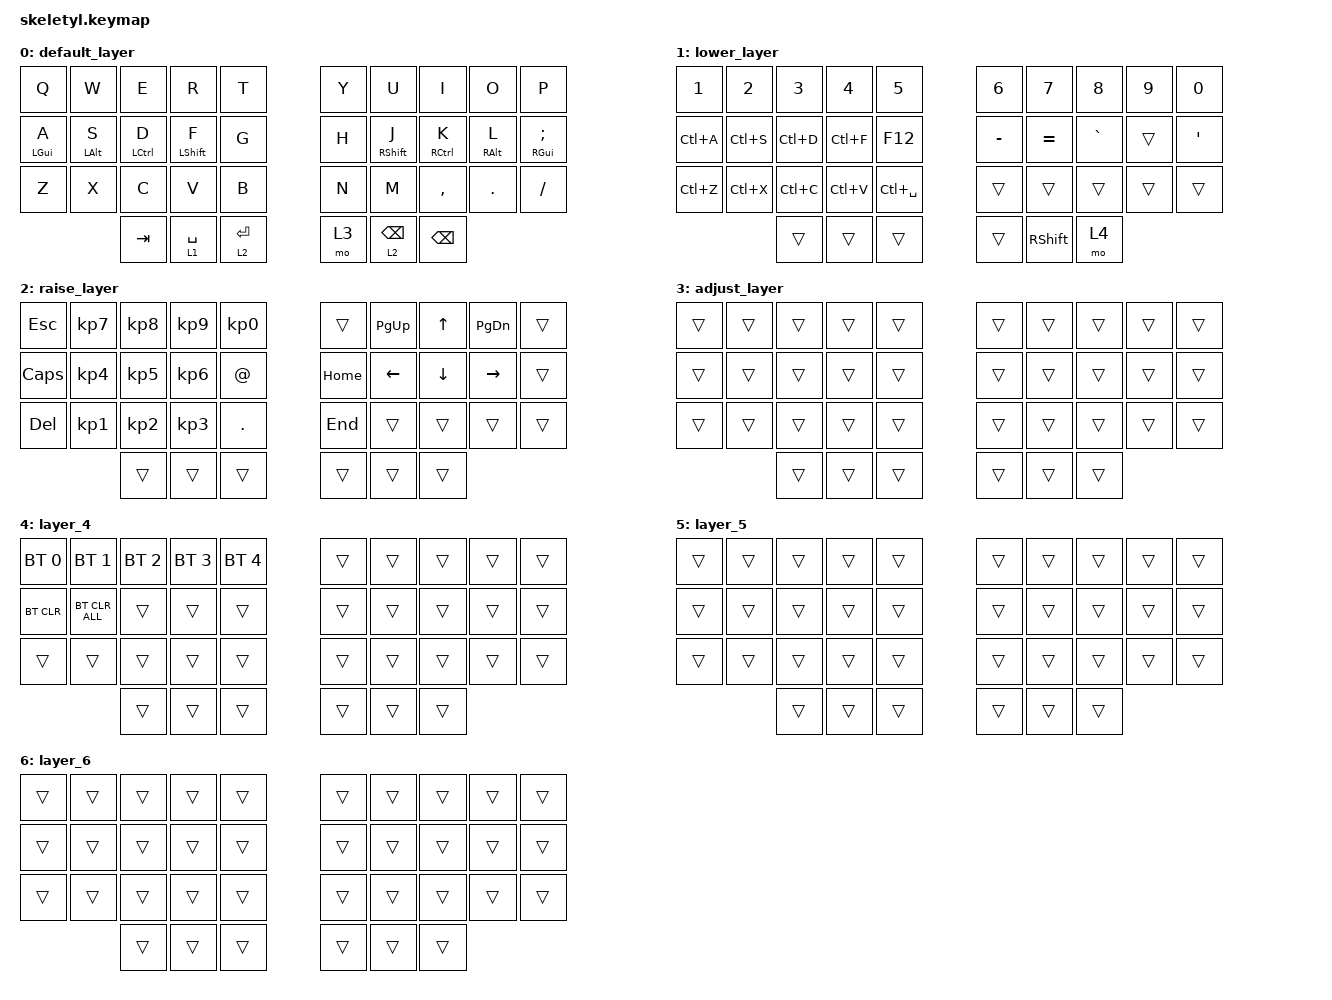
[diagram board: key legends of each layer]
/*
 * Copyright (c) 2020 The ZMK Contributors
 *
 * SPDX-License-Identifier: MIT
 */

#include <behaviors.dtsi>
#include <dt-bindings/zmk/bt.h>
#include <dt-bindings/zmk/keys.h>

&mt {
    tapping-term-ms = <200>;
    flavor = "tap-preferred";
};

/ {
    combos {
        compatible = "zmk,combos";

        left_bkt {
            bindings = <&kp LBKT>;
            key-positions = <3 2>;
            timeout-ms = <50>;
        };

        right_bkt {
            bindings = <&kp RBKT>;
            key-positions = <6 7>;
            timeout-ms = <50>;
        };

        left_par {
            bindings = <&kp LEFT_PARENTHESIS>;
            key-positions = <12 13>;
            timeout-ms = <50>;
        };

        right_par {
            bindings = <&kp RIGHT_PARENTHESIS>;
            key-positions = <16 17>;
            timeout-ms = <50>;
        };

        left_brace {
            bindings = <&kp LEFT_BRACE>;
            key-positions = <23 22>;
            timeout-ms = <50>;
        };

        right_brace {
            bindings = <&kp RIGHT_BRACE>;
            key-positions = <26 27>;
            timeout-ms = <50>;
        };

        bac {
            bindings = <&kp BACKSLASH>;
            key-positions = <4 5>;
        };

        pipe {
            bindings = <&kp PIPE>;
            key-positions = <14 15>;
        };
    };

    behaviors {
        hm: homerow_mods {
            compatible = "zmk,behavior-hold-tap";
            label = "HOMEROW_MODS";
            #binding-cells = <2>;
            tapping-term-ms = <200>;
            quick_tap_ms = <0>;
            flavor = "tap-preferred";
            bindings = <&kp>, <&kp>;

            quick-tap-ms = <180>;
            global-quick-tap;
        };

        ltq: ltq {
            compatible = "zmk,behavior-hold-tap";
            label = "LTQ";
            bindings = <&mo>, <&kp>;

            #binding-cells = <2>;
            tapping-term-ms = <600>;
            global-quick-tap;
            quick-tap-ms = <400>;
        };
    };

    keymap {
        compatible = "zmk,keymap";

        default_layer {
            bindings = <
&kp Q                    &kp W                        &kp E                     &kp R             &kp T  &kp Y                            &kp U              &kp I        &kp O            &kp P
&hm LEFT_GUI A           &hm LEFT_ALT S               &hm LCTRL D               &hm LEFT_SHIFT F  &kp G  &kp H                            &hm RIGHT_SHIFT J  &hm RCTRL K  &hm RIGHT_ALT L  &hm RIGHT_GUI SEMI
&kp Z                    &kp X                        &kp C                     &kp V             &kp B  &kp N                            &kp M              &kp COMMA    &kp PERIOD       &kp FSLH
                &kp TAB                  &lt 1 SPACE               &lt 2 ENTER                    &mo 3  &ltq 2 BACKSPACE  &kp BACKSPACE
            >;
        };

        lower_layer {
            bindings = <
&kp N1             &kp N2             &kp N3             &kp N4     &kp N5         &kp N6            &kp N7     &kp N8     &kp N9  &kp N0
&kp LC(A)          &kp LC(S)          &kp LC(D)          &kp LC(F)  &kp F12        &kp MINUS         &kp EQUAL  &kp GRAVE  &trans  &kp SQT
&kp LC(Z)          &kp LC(X)          &kp LC(C)          &kp LC(V)  &kp LC(SPACE)  &trans            &trans     &trans     &trans  &trans
           &trans             &trans             &trans             &trans         &kp RSHFT  &mo 4
            >;
        };

        raise_layer {
            bindings = <
&kp ESC             &kp KP_NUMBER_7          &kp KP_NUMBER_8          &kp KP_NUMBER_9  &kp KP_NUMBER_0  &trans            &kp PAGE_UP  &kp UP_ARROW  &kp PAGE_DOWN  &trans
&kp CAPS            &kp KP_NUMBER_4          &kp KP_NUMBER_5          &kp KP_NUMBER_6  &kp AT           &kp HOME          &kp LEFT     &kp DOWN      &kp RIGHT      &trans
&kp DELETE          &kp KP_NUMBER_1          &kp KP_NUMBER_2          &kp KP_NUMBER_3  &kp DOT          &kp END           &trans       &trans        &trans         &trans
            &trans                   &trans                   &trans                   &trans           &trans    &trans
            >;
        };

        adjust_layer {
            bindings = <
&trans          &trans          &trans          &trans  &trans  &trans          &trans  &trans  &trans  &trans
&trans          &trans          &trans          &trans  &trans  &trans          &trans  &trans  &trans  &trans
&trans          &trans          &trans          &trans  &trans  &trans          &trans  &trans  &trans  &trans
        &trans          &trans          &trans          &trans  &trans  &trans
            >;
        };

        layer_4 {
            bindings = <
&bt BT_SEL 0          &bt BT_SEL 1            &bt BT_SEL 2          &bt BT_SEL 3  &bt BT_SEL 4  &trans          &trans  &trans  &trans  &trans
&bt BT_CLR            &bt BT_CLR_ALL          &trans                &trans        &trans        &trans          &trans  &trans  &trans  &trans
&trans                &trans                  &trans                &trans        &trans        &trans          &trans  &trans  &trans  &trans
              &trans                  &trans                &trans                &trans        &trans  &trans
            >;
        };

        layer_5 {
            bindings = <
&trans          &trans          &trans          &trans  &trans  &trans          &trans  &trans  &trans  &trans
&trans          &trans          &trans          &trans  &trans  &trans          &trans  &trans  &trans  &trans
&trans          &trans          &trans          &trans  &trans  &trans          &trans  &trans  &trans  &trans
        &trans          &trans          &trans          &trans  &trans  &trans
            >;
        };

        layer_6 {
            bindings = <
&trans          &trans          &trans          &trans  &trans  &trans          &trans  &trans  &trans  &trans
&trans          &trans          &trans          &trans  &trans  &trans          &trans  &trans  &trans  &trans
&trans          &trans          &trans          &trans  &trans  &trans          &trans  &trans  &trans  &trans
        &trans          &trans          &trans          &trans  &trans  &trans
            >;
        };
    };
};
